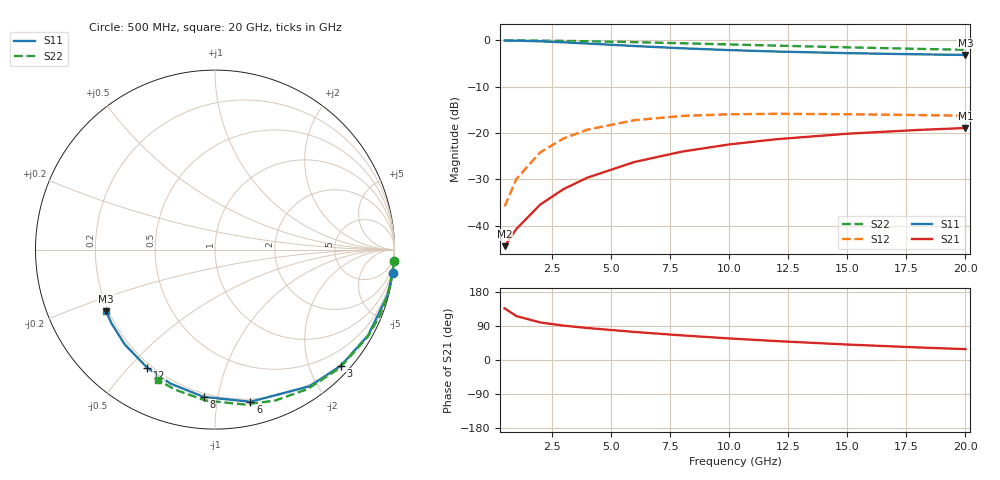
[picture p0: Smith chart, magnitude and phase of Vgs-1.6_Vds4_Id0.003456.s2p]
# Hz S RI R 50
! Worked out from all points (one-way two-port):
!   12 points, 500 MHz to 20 GHz, reference 50 ohm
!   highest |S21| = -18.91 dB at 20 GHz (marker M1); lowest = -44.4 dB at 500 MHz (marker M2)
!   lowest |S11| = -3.1 dB at 20 GHz (marker M3), VSWR 5.61, Z = 9.51 - j12.7 ohm
!   |S11| at or under -10 dB: nowhere
!   |S22| runs from -2.0 to 0.0 dB; largest |S21 - S12| = 0.12
!   S11 on the Smith chart (normalised r, x): 500 MHz: 0, -15; 3 GHz: 0.18, -2.55; 6 GHz: 0.18, -1.24; 8 GHz: 0.18, -0.91; 12 GHz: 0.18, -0.56; 20 GHz: 0.19, -0.25
5e8  0.9901 -0.1292  -0.00435 0.00415  0.00153 0.0161  0.9972 -0.0657
1e9  0.9611 -0.2541  -0.00403 0.00831  0.00601 0.0314  0.9898 -0.1309
2e9  0.8539 -0.4765  -0.00269 0.0166  0.0224 0.0575  0.9606 -0.2577
3e9  0.7011 -0.6471  -0.000302 0.0249  0.0452 0.075  0.9138 -0.3765
4e9  0.5282 -0.761  0.00322 0.0328  0.0699 0.0833  0.8517 -0.4846
6e9  0.1976 -0.8477  0.0134 0.0469  0.113 0.0788  0.695 -0.6596
8e9  -0.0628 -0.8207  0.0267 0.0571  0.1408 0.0598  0.5152 -0.7772
1e10  -0.2489 -0.7461  0.0411 0.0632  0.155 0.0382  0.3343 -0.8414
1.2e10  -0.3786 -0.6577  0.0553 0.0656  0.1603 0.0188  0.1654 -0.8631
1.5e10  -0.5032 -0.5276  0.0744 0.0643  0.1597 -0.00377  -0.0523 -0.8408
1.8e10  -0.5763 -0.4117  0.0905 0.0591  0.1551 -0.0195  -0.2239 -0.7795
2e10  -0.6072 -0.3429  0.0995 0.0544  0.1516 -0.0273  -0.3154 -0.7274
